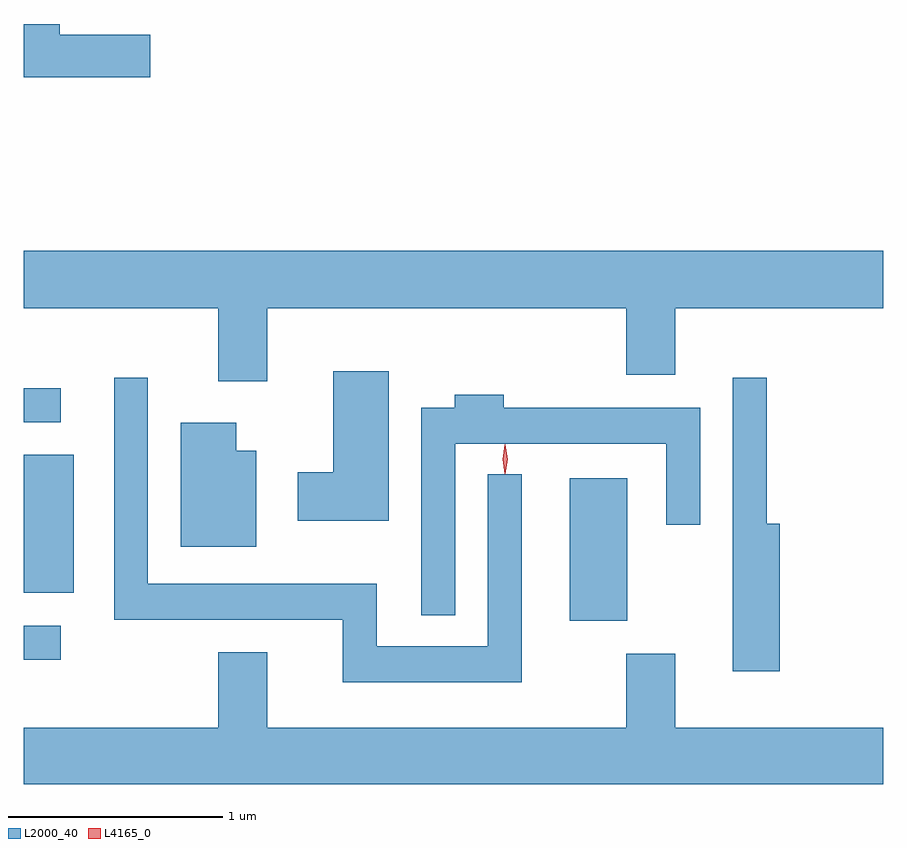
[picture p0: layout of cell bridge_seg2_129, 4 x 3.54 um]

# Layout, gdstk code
import gdstk
lib = gdstk.Library(unit=1e-6, precision=1e-09)
def R(c, l, rs):  # rectangles x0, y0, x1, y1
    for r in rs: c.add(gdstk.rectangle(r[:2], r[2:], *l))
def P(c, l, *ps):  # polygons
    for p in ps: c.add(gdstk.Polygon(p, *l))
L2000_40 = (2000, 40)
L4165_0 = (4165, 0)

bridge_seg2_129 = lib.new_cell('bridge_seg2_129')
R(bridge_seg2_129, L2000_40, [(1025.976,1106.621,1026.148,1106.779), (1028.516,1106.801,1028.784,1107.464), (1025.976,1106.931,1026.209,1107.574), (1025.976,1107.726,1026.148,1107.884)])
P(bridge_seg2_129, L2000_40, [(1026.564,1109.529),(1026.144,1109.529),(1026.144,1109.579),(1025.976,1109.579),(1025.976,1109.331),(1026.564,1109.331)],
  [(1027.109,1108.256),(1028.781,1108.256),(1028.781,1107.946),(1029.009,1107.946),(1029.009,1108.256),(1029.976,1108.256),(1029.976,1108.524),(1025.976,1108.524),(1025.976,1108.256),(1026.881,1108.256),(1026.881,1107.916),(1027.109,1107.916)],
  [(1027.674,1107.964),(1027.416,1107.964),(1027.416,1107.494),(1027.251,1107.494),(1027.251,1107.266),(1027.674,1107.266)],
  [(1028.294,1107.483),(1028.136,1107.483),(1028.136,1106.684),(1027.619,1106.684),(1027.619,1106.974),(1026.554,1106.974),(1026.554,1107.933),(1026.396,1107.933),(1026.396,1106.806),(1027.461,1106.806),(1027.461,1106.516),(1028.294,1106.516)],
  [(1029.494,1107.254),(1029.434,1107.254),(1029.434,1107.933),(1029.276,1107.933),(1029.276,1106.566),(1029.494,1106.566)],
  [(1027.984,1107.626),(1028.966,1107.626),(1028.966,1107.248),(1029.124,1107.248),(1029.124,1107.794),(1028.209,1107.794),(1028.209,1107.854),(1027.981,1107.854),(1027.981,1107.794),(1027.826,1107.794),(1027.826,1106.828),(1027.984,1106.828)],
  [(1027.059,1107.594),(1026.964,1107.594),(1026.964,1107.724),(1026.706,1107.724),(1026.706,1107.146),(1027.059,1107.146)],
  [(1029.976,1106.304),(1029.009,1106.304),(1029.009,1106.649),(1028.781,1106.649),(1028.781,1106.304),(1027.109,1106.304),(1027.109,1106.654),(1026.881,1106.654),(1026.881,1106.304),(1025.976,1106.304),(1025.976,1106.042),(1029.976,1106.042)])
P(bridge_seg2_129, L4165_0, [(1028.217,1107.484),(1028.208,1107.553),(1028.217,1107.622),(1028.218,1107.623),(1028.218,1107.622),(1028.228,1107.553),(1028.218,1107.484),(1028.218,1107.484)],
  [(1028.215,1107.487),(1028.215,1107.487),(1028.205,1107.554),(1028.215,1107.62),(1028.215,1107.621),(1028.216,1107.62),(1028.225,1107.554),(1028.216,1107.487)])

lib.write_gds('bridge_seg2_129.gds')
